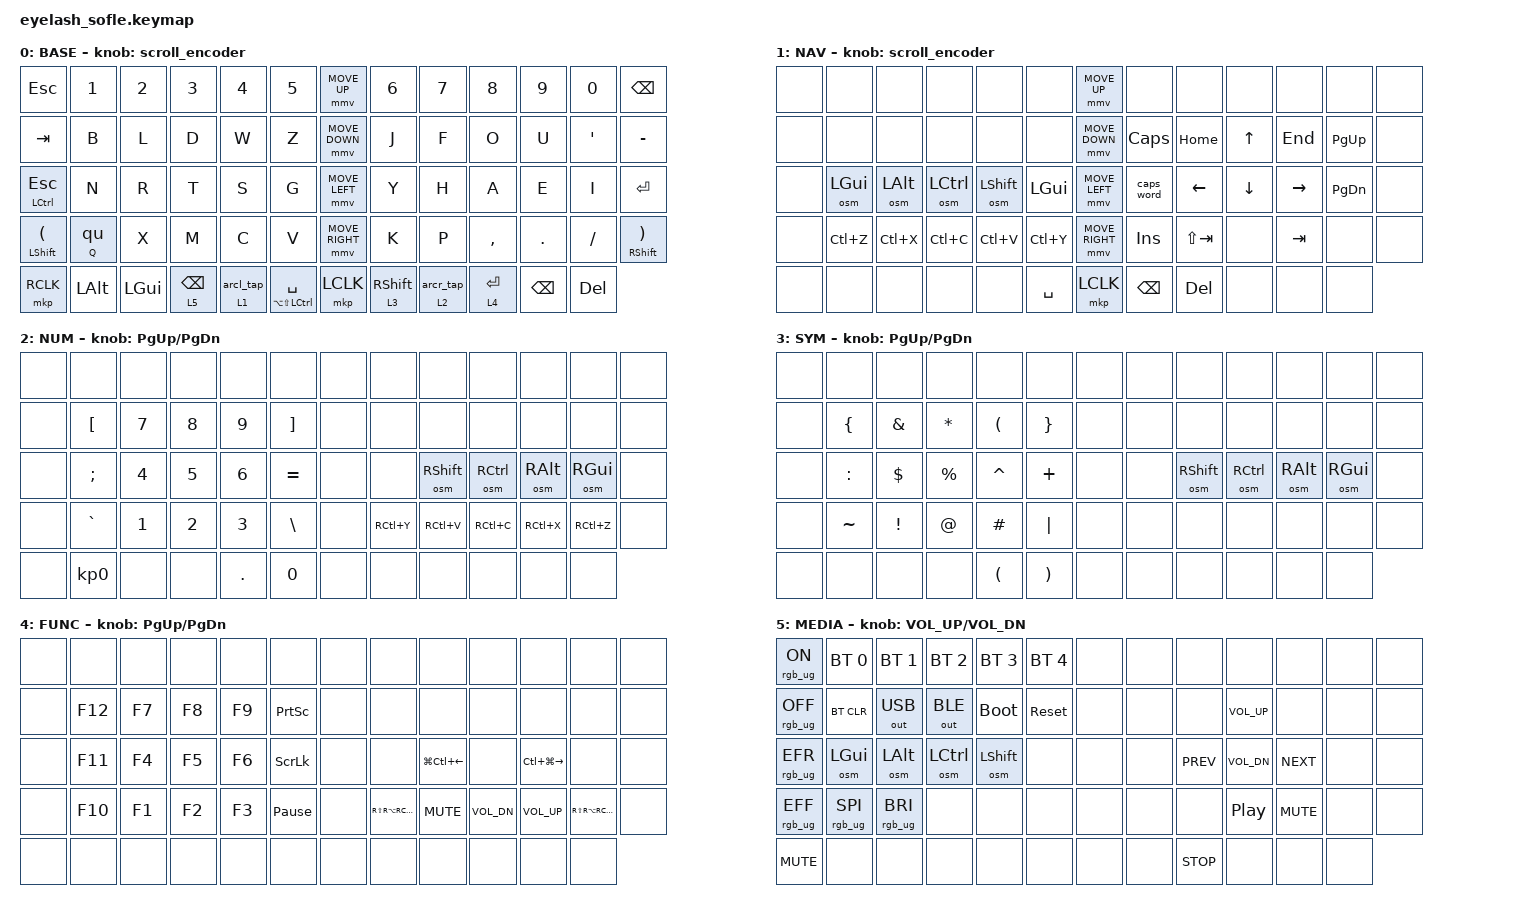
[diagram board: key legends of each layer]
#define ZMK_POINTING_DEFAULT_MOVE_VAL 1200  // 600
#define ZMK_POINTING_DEFAULT_SCRL_VAL 25   // 10

#include <input/processors.dtsi>
#include <zephyr/dt-bindings/input/input-event-codes.h>
#include <behaviors.dtsi>
#include <dt-bindings/zmk/bt.h>
#include <dt-bindings/zmk/keys.h>
#include <dt-bindings/zmk/outputs.h>
#include <dt-bindings/zmk/pointing.h>
#include <dt-bindings/zmk/rgb.h>

&mmv_input_listener { input-processors = <&zip_xy_scaler 2 1>; };

&msc_input_listener { input-processors = <&zip_scroll_scaler 2 1>; };

&msc {
    acceleration-exponent = <1>;      // 0
    time-to-max-speed-ms = <100>;       // 300
    delay-ms = <0>;                   // 0
};

&mmv {
    time-to-max-speed-ms = <500>;
    acceleration-exponent = <1>;
    trigger-period-ms = <16>;
};

/ {
    scroll_encoder: scroll_encoder {
        compatible = "zmk,behavior-sensor-rotate";
        #sensor-binding-cells = <0>;
        bindings = <&msc SCRL_DOWN>, <&msc SCRL_UP>;

        tap-ms = <100>;
    };

    behaviors {
        osm: one_shot_mod {
            compatible = "zmk,behavior-sticky-key";
            label = "One-Shot Mod";
            #binding-cells = <1>;
            bindings = <&kp>;
            release-after-ms = <2000>;
            quick-release;
        };

        osmlt: osm_layer_tap {
            compatible = "zmk,behavior-hold-tap";
            #binding-cells = <2>;
            flavor = "tap-preferred";
            tapping-term-ms = <200>;
            bindings = <&mo>, <&osm>;

            display-name = "OSM Layer-Tap";
        };

        arcl_tap: arcane_left_tap {
            compatible = "zmk,behavior-adaptive-key";
            #binding-cells = <0>;
            label = "Arcane Left Tap";
            bindings = <&mo 1>;

            repeat {
                trigger-keys = <L D Z N R T S M C V>;
                bindings = <&key_repeat>;
                strict-modifiers;
            };

            arcl_b {
                trigger-keys = <B>;
                bindings = <&efore>;
            };

            arcl_f {
                trigger-keys = <F>;
                bindings = <&kp Y>;
            };

            arcl_w {
                trigger-keys = <W>;
                bindings = <&hat>;
            };

            arcl_p {
                trigger-keys = <P>;
                bindings = <&kp H>;
            };

            arcl_a {
                trigger-keys = <A>;
                bindings = <&nd>;
            };
        };

        arcr_tap: arcane_right_tap {
            compatible = "zmk,behavior-adaptive-key";
            #binding-cells = <0>;
            label = "Arcane Right Tap";
            bindings = <&mo 2>;

            repeat {
                trigger-keys = <F O E K P>;
                bindings = <&key_repeat>;
                strict-modifiers;
            };

            arcr_a {
                trigger-keys = <A>;
                bindings = <&nd>;
            };

            arcr_b {
                trigger-keys = <B>;
                bindings = <&ecause>;
            };

            arcr_m {
                trigger-keys = <M>;
                bindings = <&ent>;
            };

            arcr_cw {
                trigger-keys = <C W>;
                bindings = <&ould>;
            };

            arcr_comma {
                trigger-keys = <COMMA>;
                bindings = <&spc_but>;
            };

            arcr_dot {
                trigger-keys = <DOT>;
                bindings = <&org>;
            };

            arcr_nt {
                trigger-keys = <N T>;
                bindings = <&ion>;
            };

            arcr_i {
                trigger-keys = <I>;
                bindings = <&ng>;
            };

            arcr_y {
                trigger-keys = <Y>;
                bindings = <&ou>;
            };
        };

        arcl: arcane_left {
            compatible = "zmk,behavior-hold-tap";
            label = "Arcane Left";
            bindings = <&mo>, <&arcl_tap>;

            #binding-cells = <2>;
            tapping-term-ms = <185>;
        };

        arcr: arcane_right {
            compatible = "zmk,behavior-hold-tap";
            label = "Arcane Right";
            bindings = <&mo>, <&arcr_tap>;

            #binding-cells = <2>;
            tapping-term-ms = <185>;
        };

        qu_or: qu_or {
            compatible = "zmk,behavior-hold-tap";
            label = "QU_OR";
            bindings = <&kp>, <&qu>;

            #binding-cells = <2>;
            tapping-term-ms = <220>;
            flavor = "tap-preferred";
        };
    };

    macros {
        efore: efore {
            compatible = "zmk,behavior-macro";
            #binding-cells = <0>;
            bindings = <&kp E &kp F &kp O &kp R &kp E>;
        };

        qu: qu {
            compatible = "zmk,behavior-macro";
            #binding-cells = <0>;
            bindings = <&kp Q &kp U>;
        };

        nd: nd {
            compatible = "zmk,behavior-macro";
            #binding-cells = <0>;
            bindings = <&kp N &kp D>;
        };

        hat: hat {
            compatible = "zmk,behavior-macro";
            #binding-cells = <0>;
            bindings = <&kp H &kp A &kp T>;
        };

        mc_on: mc_on {
            compatible = "zmk,behavior-macro";
            #binding-cells = <0>;
            bindings = <&kp O &kp N>;
        };

        spc_and: spc_and {
            compatible = "zmk,behavior-macro";
            #binding-cells = <0>;
            bindings = <&kp SPACE &kp A &kp N &kp D>;
        };

        com: com {
            compatible = "zmk,behavior-macro";
            #binding-cells = <0>;
            bindings = <&kp C &kp O &kp M>;
        };

        ould: ould {
            compatible = "zmk,behavior-macro";
            #binding-cells = <0>;
            bindings = <&kp O &kp U &kp L &kp D>;
        };

        ion: ion {
            compatible = "zmk,behavior-macro";
            #binding-cells = <0>;
            bindings = <&kp I &kp O &kp N>;
        };

        ent: ent {
            compatible = "zmk,behavior-macro";
            #binding-cells = <0>;
            bindings = <&kp E &kp N &kp T>;
        };

        ng: ng {
            compatible = "zmk,behavior-macro";
            #binding-cells = <0>;
            bindings = <&kp N &kp G>;
        };

        ou: ou {
            compatible = "zmk,behavior-macro";
            #binding-cells = <0>;
            bindings = <&kp O &kp U>;
        };

        ecause: ecause {
            compatible = "zmk,behavior-macro";
            #binding-cells = <0>;
            bindings = <&kp E &kp C &kp A &kp U &kp S &kp E>;
        };

        hich: hich {
            compatible = "zmk,behavior-macro";
            #binding-cells = <0>;
            bindings = <&kp H &kp I &kp C &kp H>;
        };

        spc_but: spc_but {
            compatible = "zmk,behavior-macro";
            #binding-cells = <0>;
            bindings = <&kp SPACE &kp B &kp U &kp T>;
        };

        org: org {
            compatible = "zmk,behavior-macro";
            #binding-cells = <0>;
            bindings = <&kp O &kp R &kp G>;
        };

        thanks: new_macro {
            compatible = "zmk,behavior-macro";
            #binding-cells = <0>;
            bindings = <&kp LS(T) &kp H &kp A &kp N &kp K &kp S &kp EXCL>;
            label = "NEW_MACRO";
        };
    };

    combos {
        compatible = "zmk,combos";

        Tab {
            bindings = <&kp TAB>;
            key-positions = <28 29>;
        };

        Copy {
            bindings = <&kp LC(C)>;
            key-positions = <41 42>;
        };

        Paste {
            bindings = <&kp LC(V)>;
            key-positions = <42 43>;
        };

        Backspace {
            bindings = <&kp BACKSPACE>;
            key-positions = <21 22>;
        };

        Delete {
            bindings = <&kp DELETE>;
            key-positions = <22 23>;
        };

        Dash {
            bindings = <&kp MINUS>;
            key-positions = <34 35>;
        };

        Semicolon {
            bindings = <&kp SEMI>;
            key-positions = <35 36>;
        };

        Thanks {
            bindings = <&thanks>;
            key-positions = <27 28 29 30>;
        };
    };

    keymap {
        compatible = "zmk,keymap";

        base {
            bindings = <
&kp ESC                     &kp N1        &kp N2        &kp N3           &kp N4     &kp N5                     &mmv MOVE_UP     &kp N6                &kp N7     &kp N8        &kp N9         &kp N0      &kp BACKSPACE
&kp TAB                     &kp B         &kp L         &kp D            &kp W      &kp Z                      &mmv MOVE_DOWN   &kp J                 &kp F      &kp O         &kp U          &kp APOS    &kp MINUS
&mt LCTRL ESCAPE            &kp N         &kp R         &kp T            &kp S      &kp G                      &mmv MOVE_LEFT   &kp Y                 &kp H      &kp A         &kp E          &kp I       &kp ENTER
&mt LSHFT LEFT_PARENTHESIS  &qu_or Q 0    &kp X         &kp M            &kp C      &kp V                      &mmv MOVE_RIGHT  &kp K                 &kp P      &kp COMMA     &kp DOT        &kp FSLH    &mt RSHFT RIGHT_PARENTHESIS
&mkp RCLK                   &kp LEFT_ALT  &kp LEFT_GUI  &lt 5 BACKSPACE  &arcl 1 0  &mt LA(LS(LCTRL)) SPACE    &mkp LCLK        &osmlt 3 RIGHT_SHIFT  &arcr 2 0  &lt 4 RETURN  &kp BACKSPACE  &kp DELETE
            >;

            sensor-bindings = <&scroll_encoder>;
            display-name = "BASE";
        };

        nav {
            // Navigation layer (right hand) - activated by left thumb

            bindings = <
&none  &none          &none      &none       &none       &none        &mmv MOVE_UP     &none         &none        &none     &none      &none      &none
&none  &none          &none      &none       &none       &none        &mmv MOVE_DOWN   &kp CAPSLOCK  &kp HOME     &kp UP    &kp END    &kp PG_UP  &none
&none  &osm LEFT_GUI  &osm LALT  &osm LCTRL  &osm LSHFT  &kp LGUI     &mmv MOVE_LEFT   &caps_word    &kp LEFT     &kp DOWN  &kp RIGHT  &kp PG_DN  &none
&none  &kp LC(Z)      &kp LC(X)  &kp LC(C)   &kp LC(V)   &kp LC(Y)    &mmv MOVE_RIGHT  &kp INS       &kp LS(TAB)  &none     &kp TAB    &none      &none
&none  &none          &none      &none       &none       &kp SPACE    &mkp LCLK        &kp BSPC      &kp DEL      &none     &none      &none
            >;

            sensor-bindings = <&scroll_encoder>;
            display-name = "NAV";
        };

        num {
            // Number layer (left hand) - activated by right thumb

            bindings = <
&none  &none            &none   &none   &none    &none        &none  &none      &none       &none       &none      &none      &none
&none  &kp LBKT         &kp N7  &kp N8  &kp N9   &kp RBKT     &none  &none      &none       &none       &none      &none      &none
&none  &kp SEMI         &kp N4  &kp N5  &kp N6   &kp EQUAL    &none  &none      &osm RSHFT  &osm RCTRL  &osm RALT  &osm RGUI  &none
&none  &kp GRAVE        &kp N1  &kp N2  &kp N3   &kp BSLH     &none  &kp RC(Y)  &kp RC(V)   &kp RC(C)   &kp RC(X)  &kp RC(Z)  &none
&none  &kp KP_NUMBER_0  &none   &none   &kp DOT  &kp N0       &none  &none      &none       &none       &none      &none
            >;

            sensor-bindings = <&inc_dec_kp PG_UP PG_DN>;
            display-name = "NUM";
        };

        sym {
            // Symbol layer (left hand) - activated by right thumb + mod

            bindings = <
&none  &none      &none     &none      &none      &none       &none  &none  &none       &none       &none      &none      &none
&none  &kp LBRC   &kp AMPS  &kp STAR   &kp LPAR   &kp RBRC    &none  &none  &none       &none       &none      &none      &none
&none  &kp COLON  &kp DLLR  &kp PRCNT  &kp CARET  &kp PLUS    &none  &none  &osm RSHFT  &osm RCTRL  &osm RALT  &osm RGUI  &none
&none  &kp TILDE  &kp EXCL  &kp AT     &kp HASH   &kp PIPE    &none  &none  &none       &none       &none      &none      &none
&none  &none      &none     &none      &kp LPAR   &kp RPAR    &none  &none  &none       &none       &none      &none
            >;

            sensor-bindings = <&inc_dec_kp PG_UP PG_DN>;
            display-name = "SYM";
        };

        func {
            // Function layer (left hand) - activated by right thumb + additional mod

            bindings = <
&none  &none    &none   &none   &none   &none              &none  &none                      &none             &none         &none              &none                    &none
&none  &kp F12  &kp F7  &kp F8  &kp F9  &kp PSCRN          &none  &none                      &none             &none         &none              &none                    &none
&none  &kp F11  &kp F4  &kp F5  &kp F6  &kp SLCK           &none  &none                      &kp LG(LC(LEFT))  &none         &kp LC(LG(RIGHT))  &none                    &none
&none  &kp F10  &kp F1  &kp F2  &kp F3  &kp PAUSE_BREAK    &none  &kp RS(RA(RC(PAGE_DOWN)))  &kp K_MUTE        &kp C_VOL_DN  &kp C_VOL_UP       &kp RS(RA(RC(PAGE_UP)))  &none
&none  &none    &none   &none   &none   &none              &none  &none                      &none             &none         &none              &none
            >;

            sensor-bindings = <&inc_dec_kp PG_UP PG_DN>;
            display-name = "FUNC";
        };

        media {
            // Media layer (right hand) - activated by left thumb + additional mod

            bindings = <
&rgb_ug RGB_ON   &bt BT_SEL 0     &bt BT_SEL 1     &bt BT_SEL 2  &bt BT_SEL 3  &bt BT_SEL 4    &none  &none  &none       &none         &none       &none  &none
&rgb_ug RGB_OFF  &bt BT_CLR       &out OUT_USB     &out OUT_BLE  &bootloader   &sys_reset      &none  &none  &none       &kp C_VOL_UP  &none       &none  &none
&rgb_ug RGB_EFR  &osm LGUI        &osm LALT        &osm LCTRL    &osm LSHFT    &none           &none  &none  &kp C_PREV  &kp C_VOL_DN  &kp C_NEXT  &none  &none
&rgb_ug RGB_EFF  &rgb_ug RGB_SPI  &rgb_ug RGB_BRI  &none         &none         &none           &none  &none  &none       &kp C_PP      &kp C_MUTE  &none  &none
&kp C_MUTE       &none            &none            &none         &none         &none           &none  &none  &kp C_STOP  &none         &none       &none
            >;

            sensor-bindings = <&inc_dec_kp C_VOL_UP C_VOL_DN>;
            display-name = "MEDIA";
        };
    };
};
